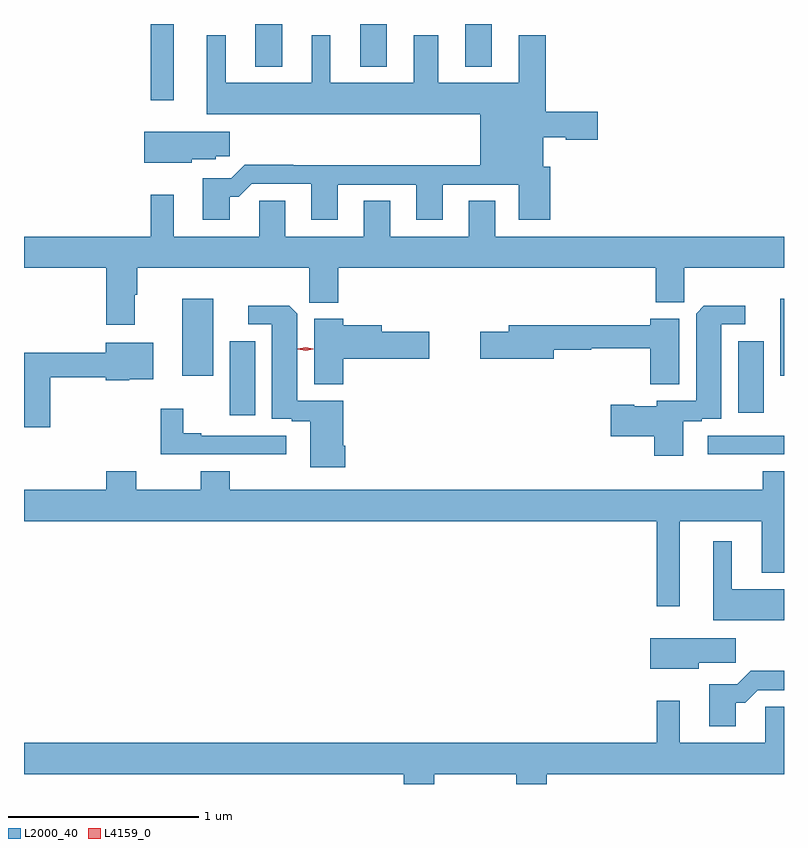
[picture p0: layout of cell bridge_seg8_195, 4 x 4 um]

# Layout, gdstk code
import gdstk
lib = gdstk.Library(unit=1e-6, precision=1e-09)
def R(c, l, rs):  # rectangles x0, y0, x1, y1
    for r in rs: c.add(gdstk.rectangle(r[:2], r[2:], *l))
def A(c, l, x, y, w, h, nx, ny, dx, dy):  # array of equal rectangles
    R(c, l, [(x+i*dx, y+j*dy, x+i*dx+w, y+j*dy+h) for i in range(nx) for j in range(ny)])
def P(c, l, *ps):  # polygons
    for p in ps: c.add(gdstk.Polygon(p, *l))
L2000_40 = (2000, 40)
L4159_0 = (4159, 0)

bridge_seg8_195 = lib.new_cell('bridge_seg8_195')
A(bridge_seg8_195, L2000_40, 255.173, 1116.227, 0.14, 0.225, 3, 1, 0.552, 0)
R(bridge_seg8_195, L2000_40, [(257.553,1114.188,257.955,1114.284), (255.038,1114.394,255.172,1114.783), (257.714,1114.407,257.848,1114.783), (254.789,1114.602,254.95,1115.005), (257.936,1114.602,257.955,1115.005), (254.622,1116.051,254.743,1116.452)])
P(bridge_seg8_195, L2000_40, [(255.037,1115.543),(255.086,1115.543),(255.153,1115.61),(255.467,1115.61),(255.467,1115.421),(255.607,1115.421),(255.607,1115.607),(256.019,1115.607),(256.019,1115.421),(256.159,1115.421),(256.159,1115.607),(256.559,1115.607),(256.559,1115.421),(256.724,1115.421),(256.724,1115.7),(256.687,1115.7),(256.687,1115.855),(256.807,1115.855),(256.807,1115.843),(256.975,1115.843),(256.975,1115.99),(256.7,1115.99),(256.7,1116.394),(256.559,1116.394),(256.559,1116.142),(256.135,1116.142),(256.135,1116.394),(256.007,1116.394),(256.007,1116.142),(255.568,1116.142),(255.568,1116.394),(255.47,1116.394),(255.47,1116.142),(255.016,1116.142),(255.016,1116.394),(254.918,1116.394),(254.918,1115.978),(256.355,1115.978),(256.355,1115.708),(255.371,1115.708),(255.371,1115.711),(255.116,1115.711),(255.045,1115.64),(254.897,1115.64),(254.897,1115.421),(255.037,1115.421)],
  [(254.838,1115.741),(254.964,1115.741),(254.964,1115.755),(255.037,1115.755),(255.037,1115.884),(254.588,1115.884),(254.588,1115.723),(254.838,1115.723)],
  [(254.539,1115.027),(254.552,1115.027),(254.552,1115.168),(255.457,1115.168),(255.457,1114.986),(255.608,1114.986),(255.608,1115.168),(257.279,1115.168),(257.279,1114.987),(257.429,1114.987),(257.429,1115.168),(257.955,1115.168),(257.955,1115.332),(256.435,1115.332),(256.435,1115.522),(256.295,1115.522),(256.295,1115.332),(255.883,1115.332),(255.883,1115.522),(255.743,1115.522),(255.743,1115.332),(255.331,1115.332),(255.331,1115.522),(255.192,1115.522),(255.192,1115.332),(254.743,1115.332),(254.743,1115.554),(254.622,1115.554),(254.622,1115.332),(253.955,1115.332),(253.955,1115.168),(254.387,1115.168),(254.387,1114.869),(254.539,1114.869)],
  [(257.425,1114.362),(257.522,1114.362),(257.522,1114.374),(257.626,1114.374),(257.626,1114.872),(257.752,1114.872),(257.752,1114.97),(257.533,1114.97),(257.492,1114.928),(257.492,1114.47),(257.285,1114.47),(257.285,1114.441),(257.168,1114.441),(257.168,1114.449),(257.043,1114.449),(257.043,1114.283),(257.273,1114.283),(257.273,1114.179),(257.425,1114.179)],
  [(255.647,1114.231),(255.634,1114.231),(255.634,1114.47),(255.394,1114.47),(255.394,1114.928),(255.352,1114.97),(255.135,1114.97),(255.135,1114.872),(255.26,1114.872),(255.26,1114.374),(255.365,1114.374),(255.365,1114.362),(255.461,1114.362),(255.461,1114.119),(255.647,1114.119)],
  [(257.404,1114.902),(257.252,1114.902),(257.252,1114.867),(256.505,1114.867),(256.505,1114.833),(256.356,1114.833),(256.356,1114.691),(256.744,1114.691),(256.744,1114.738),(256.94,1114.738),(256.94,1114.746),(257.252,1114.746),(257.252,1114.555),(257.404,1114.555)],
  [(255.635,1114.691),(256.087,1114.691),(256.087,1114.833),(255.838,1114.833),(255.838,1114.867),(255.635,1114.867),(255.635,1114.9),(255.482,1114.9),(255.482,1114.555),(255.635,1114.555)],
  [(254.093,1114.594),(254.384,1114.594),(254.384,1114.576),(254.51,1114.576),(254.51,1114.583),(254.635,1114.583),(254.635,1114.774),(254.384,1114.774),(254.384,1114.723),(253.955,1114.723),(253.955,1114.329),(254.093,1114.329)],
  [(255.334,1114.284),(254.887,1114.284),(254.887,1114.297),(254.793,1114.297),(254.793,1114.426),(254.674,1114.426),(254.674,1114.188),(255.334,1114.188)],
  [(257.407,1113.836),(257.837,1113.836),(257.837,1113.563),(257.955,1113.563),(257.955,1114.099),(257.843,1114.099),(257.843,1114),(255.039,1114),(255.039,1114.099),(254.884,1114.099),(254.884,1114),(254.547,1114),(254.547,1114.099),(254.387,1114.099),(254.387,1114),(253.955,1114),(253.955,1113.836),(257.286,1113.836),(257.286,1113.387),(257.407,1113.387)],
  [(257.955,1113.478),(257.68,1113.478),(257.68,1113.73),(257.582,1113.73),(257.582,1113.314),(257.955,1113.314)],
  [(257.506,1113.091),(257.701,1113.091),(257.701,1113.22),(257.252,1113.22),(257.252,1113.059),(257.506,1113.059)],
  [(257.701,1112.879),(257.75,1112.879),(257.817,1112.946),(257.955,1112.946),(257.955,1113.047),(257.779,1113.047),(257.71,1112.977),(257.561,1112.977),(257.561,1112.757),(257.701,1112.757)],
  [(256.113,1112.504),(256.546,1112.504),(256.546,1112.452),(256.706,1112.452),(256.706,1112.504),(257.955,1112.504),(257.955,1112.858),(257.856,1112.858),(257.856,1112.668),(257.407,1112.668),(257.407,1112.89),(257.286,1112.89),(257.286,1112.668),(253.955,1112.668),(253.955,1112.504),(255.953,1112.504),(255.953,1112.452),(256.113,1112.452)])
P(bridge_seg8_195, L4159_0, [(255.437,1114.732),(255.397,1114.741),(255.397,1114.742),(255.397,1114.742),(255.437,1114.752),(255.477,1114.742),(255.477,1114.742),(255.477,1114.741)])

lib.write_gds('bridge_seg8_195.gds')
